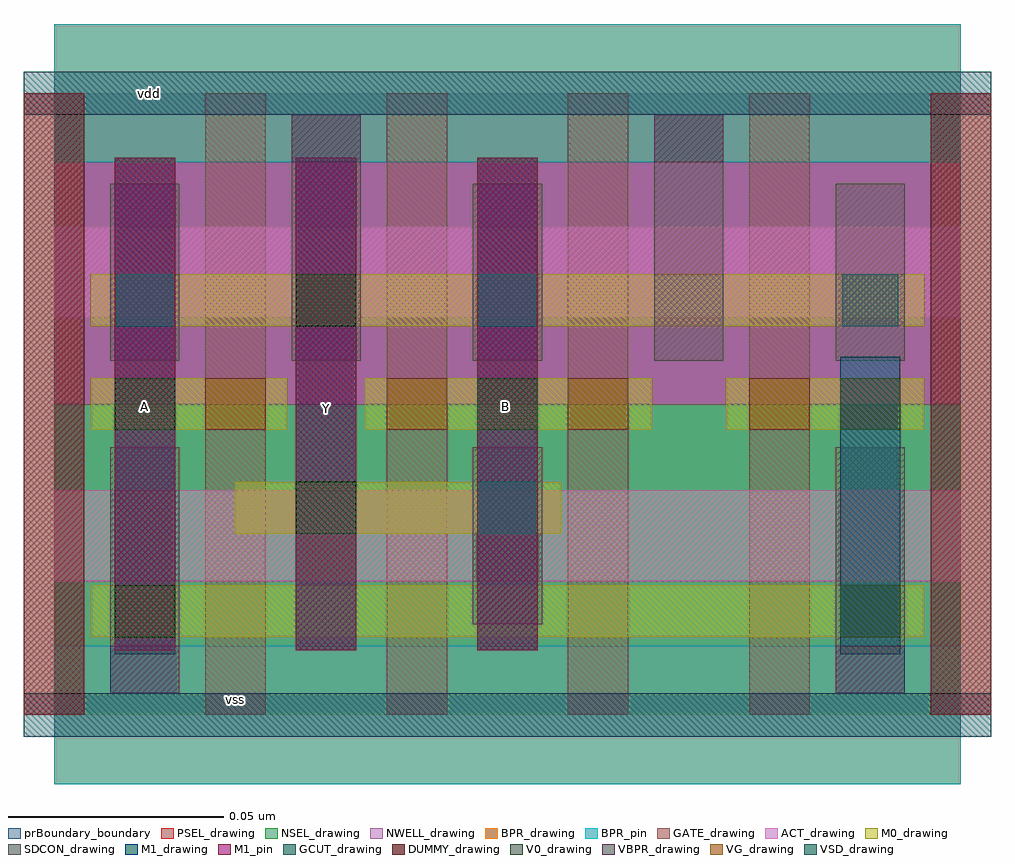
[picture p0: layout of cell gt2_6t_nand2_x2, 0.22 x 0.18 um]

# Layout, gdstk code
import gdstk
lib = gdstk.Library(unit=1e-6, precision=5e-10)
def R(c, l, rs):  # rectangles x0, y0, x1, y1
    for r in rs: c.add(gdstk.rectangle(r[:2], r[2:], *l))
def A(c, l, x, y, w, h, nx, ny, dx, dy):  # array of equal rectangles
    R(c, l, [(x+i*dx, y+j*dy, x+i*dx+w, y+j*dy+h) for i in range(nx) for j in range(ny)])
NWELL_drawing = (1, 0)
ACT_drawing = (2, 0)
GATE_drawing = (3, 0)
DUMMY_drawing = (4, 0)
GCUT_drawing = (5, 0)
NSEL_drawing = (6, 0)
PSEL_drawing = (7, 0)
BPR_drawing = (8, 0)
BPR_pin = (8, 251)
VBPR_drawing = (9, 0)
SDCON_drawing = (10, 0)
VSD_drawing = (11, 0)
VG_drawing = (12, 0)
M0_drawing = (20, 0)
V0_drawing = (22, 0)
M1_drawing = (25, 0)
M1_pin = (25, 251)
prBoundary_boundary = (235, 250)

gt2_6t_nand2_x2 = lib.new_cell('gt2_6t_nand2_x2')
R(gt2_6t_nand2_x2, NWELL_drawing, [(0,0.072,0.21,0.144)])
R(gt2_6t_nand2_x2, ACT_drawing, [(0,0.031,0.21,0.052), (0,0.092,0.21,0.113)])
A(gt2_6t_nand2_x2, GATE_drawing, -0.007, 0, 0.014, 0.144, 6, 1, 0.042, 0)
R(gt2_6t_nand2_x2, DUMMY_drawing, [(-0.007,0,0.007,0.144), (0.203,0,0.217,0.144)])
R(gt2_6t_nand2_x2, GCUT_drawing, [(-0.007,-0.005,0.217,0.005), (-0.007,0.139,0.217,0.149)])
R(gt2_6t_nand2_x2, NSEL_drawing, [(0,0,0.21,0.072)])
R(gt2_6t_nand2_x2, PSEL_drawing, [(0,0.072,0.21,0.144)])
R(gt2_6t_nand2_x2, BPR_drawing, [(0,-0.016,0.21,0.016), (0,0.128,0.21,0.16)])
R(gt2_6t_nand2_x2, BPR_pin, [(0,-0.016,0.21,0.016), (0,0.128,0.21,0.16)])
R(gt2_6t_nand2_x2, VBPR_drawing, [(0.013,0.005,0.029,0.016), (0.181,0.005,0.197,0.016), (0.055,0.128,0.071,0.139), (0.139,0.128,0.155,0.139)])
A(gt2_6t_nand2_x2, SDCON_drawing, 0.013, 0.082, 0.016, 0.041, 3, 1, 0.084, 0)
R(gt2_6t_nand2_x2, SDCON_drawing, [(0.013,0.005,0.029,0.062), (0.181,0.005,0.197,0.062), (0.097,0.021,0.113,0.062), (0.055,0.082,0.071,0.139), (0.139,0.082,0.155,0.139)])
A(gt2_6t_nand2_x2, VSD_drawing, 0.0145, 0.09, 0.013, 0.012, 3, 1, 0.084, 0)
R(gt2_6t_nand2_x2, VSD_drawing, [(0.0985,0.042,0.1115,0.054)])
A(gt2_6t_nand2_x2, VG_drawing, 0.035, 0.066, 0.014, 0.012, 4, 1, 0.042, 0)
R(gt2_6t_nand2_x2, M0_drawing, [(0.0085,0.018,0.2015,0.03), (0.042,0.042,0.1175,0.054), (0.0085,0.066,0.054,0.078), (0.072,0.066,0.1385,0.078), (0.1555,0.066,0.2015,0.078), (0.0085,0.09,0.2015,0.102)])
A(gt2_6t_nand2_x2, V0_drawing, 0.014, 0.066, 0.014, 0.012, 3, 1, 0.084, 0)
R(gt2_6t_nand2_x2, V0_drawing, [(0.014,0.018,0.028,0.03), (0.182,0.018,0.196,0.03), (0.056,0.042,0.07,0.054), (0.056,0.09,0.07,0.102)])
R(gt2_6t_nand2_x2, M1_drawing, [(0.014,0.014,0.028,0.129), (0.182,0.014,0.196,0.083), (0.056,0.015,0.07,0.129), (0.098,0.015,0.112,0.129)])
A(gt2_6t_nand2_x2, M1_pin, 0.014, 0.015, 0.014, 0.114, 3, 1, 0.042, 0)
R(gt2_6t_nand2_x2, prBoundary_boundary, [(0,0,0.21,0.144)])
gt2_6t_nand2_x2.add(gdstk.Label('vss', (0.042,0.0035), layer=8, texttype=251))
gt2_6t_nand2_x2.add(gdstk.Label('vdd', (0.022,0.144), layer=8, texttype=251))
gt2_6t_nand2_x2.add(gdstk.Label('B', (0.1045,0.0715), layer=25, texttype=251))
gt2_6t_nand2_x2.add(gdstk.Label('Y', (0.063,0.071), layer=25, texttype=251))
gt2_6t_nand2_x2.add(gdstk.Label('A', (0.021,0.0715), layer=25, texttype=251))

lib.write_gds('gt2_6t_nand2_x2.gds')
